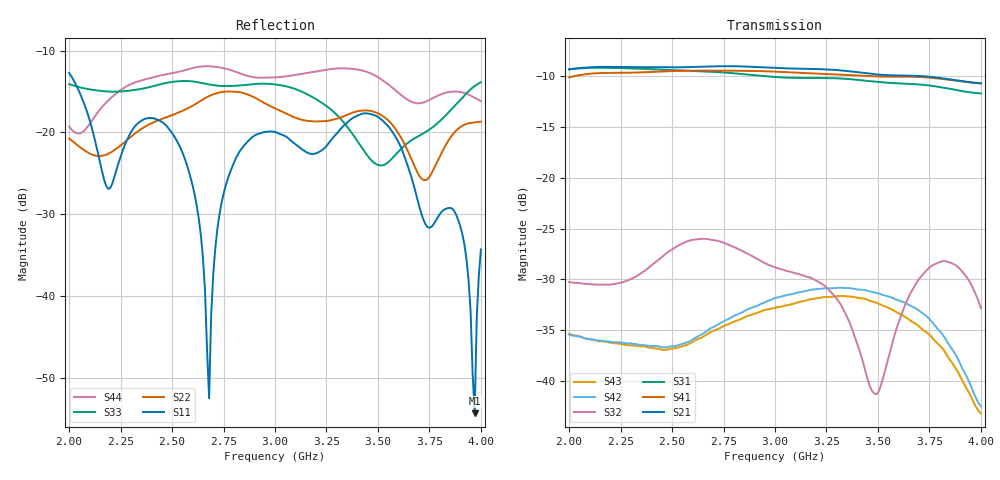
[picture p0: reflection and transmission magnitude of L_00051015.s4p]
!Agilent Technologies,N5224A,MY51441093,A.09.90.21
!Agilent N5224A: A.09.90.21
!Date: Friday, December 19, 2025 16:36:46
!Correction: S11(Full 4 Port(1,2,3,4))
!S12(Full 4 Port(1,2,3,4))
!S13(Full 4 Port(1,2,3,4))
!S14(Full 4 Port(1,2,3,4))
!S21(Full 4 Port(1,2,3,4))
!S22(Full 4 Port(1,2,3,4))
!S23(Full 4 Port(1,2,3,4))
!S24(Full 4 Port(1,2,3,4))
!S31(Full 4 Port(1,2,3,4))
!S32(Full 4 Port(1,2,3,4))
!S33(Full 4 Port(1,2,3,4))
!S34(Full 4 Port(1,2,3,4))
!S41(Full 4 Port(1,2,3,4))
!S42(Full 4 Port(1,2,3,4))
!S43(Full 4 Port(1,2,3,4))
!S44(Full 4 Port(1,2,3,4))
!S4P File: Measurements: <S11,S12,S13,S14>,
!<S21,S22,S23,S24>,
!<S31,S32,S33,S34>,
!<S41,S42,S43,S44>:
# Hz S  dB  R 50
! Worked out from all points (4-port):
!   201 points, 2 GHz to 4 GHz, reference 50 ohm
!   strongest paths, dB at 2 GHz, 2.5 GHz, 3 GHz, 3.5 GHz, 4 GHz:
!     S21: -9.4, -9.2, -9.2, -9.9, -10.7
!     S41: -10.1, -9.5, -9.6, -10.1, -10.7
!     S31: -9.4, -9.4, -10.1, -10.6, -11.7
!     S32: -30.3, -27.0, -28.8, -41.2, -32.8
!     S42: -35.4, -36.6, -31.8, -31.4, -42.5
!     S43: -35.3, -36.8, -32.8, -32.3, -43.2
!   lowest |S11| = -54.4 dB at 3.97 GHz (marker M1), VSWR 1.00, Z = 50.1 + j0.152 ohm
!   |S11| at or under -10 dB: start of sweep to end of sweep
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2e9  -12.73 -58.0  -9.34 -75.8  -9.30 168.8  -10.25 75.1
     -9.35 -75.8  -20.75 104.7  -30.22 -94.7  -35.53 -171.3
     -9.36 169.0  -30.26 -94.5  -14.10 -48.7  -35.52 73.0
     -10.13 75.3  -35.41 -171.0  -35.34 73.1  -19.27 74.1
2.55e9  -22.45 -111.7  -9.13 1.7  -9.40 -108.0  -9.61 137.7
        -9.14 1.6  -17.37 -140.2  -26.40 -99.7  -36.46 1.3
        -9.47 -107.9  -26.47 -99.6  -13.72 -177.9  -36.76 -108.0
        -9.49 137.7  -36.33 1.5  -36.56 -108.0  -12.48 -157.5
2.68e9  -52.52 72.1  -9.06 -63.4  -9.52 -173.0  -9.58 71.0
        -9.07 -63.5  -15.55 -168.3  -26.02 176.3  -35.01 -107.7
        -9.58 -172.9  -26.07 176.4  -14.14 152.1  -35.43 143.4
        -9.47 71.1  -34.88 -107.5  -35.24 143.4  -11.91 173.8
2.83e9  -22.26 -13.2  -9.03 -139.0  -9.72 111.9  -9.60 -4.9
        -9.06 -139.2  -15.10 154.7  -27.03 88.7  -33.46 122.3
        -9.79 111.9  -27.08 89.0  -14.26 124.4  -34.10 14.9
        -9.50 -4.8  -33.34 122.5  -33.94 15.0  -12.78 145.0
3.51e9  -18.28 -131.4  -9.87 -116.3  -10.53 132.8  -10.12 21.3
        -9.88 -116.3  -17.80 72.2  -40.60 176.9  -31.47 -106.7
        -10.61 133.1  -40.68 177.3  -24.04 -124.1  -32.56 144.3
        -10.06 21.6  -31.41 -106.4  -32.43 144.2  -13.41 41.3
3.97e9  -54.36 52.5  -10.66 18.5  -11.58 -98.5  -10.72 158.0
        -10.68 18.6  -18.79 79.7  -31.16 -59.9  -41.44 171.8
        -11.66 -97.9  -31.23 -59.4  -14.33 83.9  -42.39 49.8
        -10.68 158.7  -41.40 172.4  -42.29 50.0  -15.77 3.2
4e9  -34.32 48.5  -10.70 4.0  -11.63 -113.2  -10.76 143.7
     -10.73 4.2  -18.69 77.8  -32.77 -76.7  -42.57 133.1
     -11.72 -112.7  -32.83 -76.3  -13.85 76.7  -43.33 11.5
     -10.73 144.4  -42.47 133.2  -43.16 11.1  -16.17 1.3
